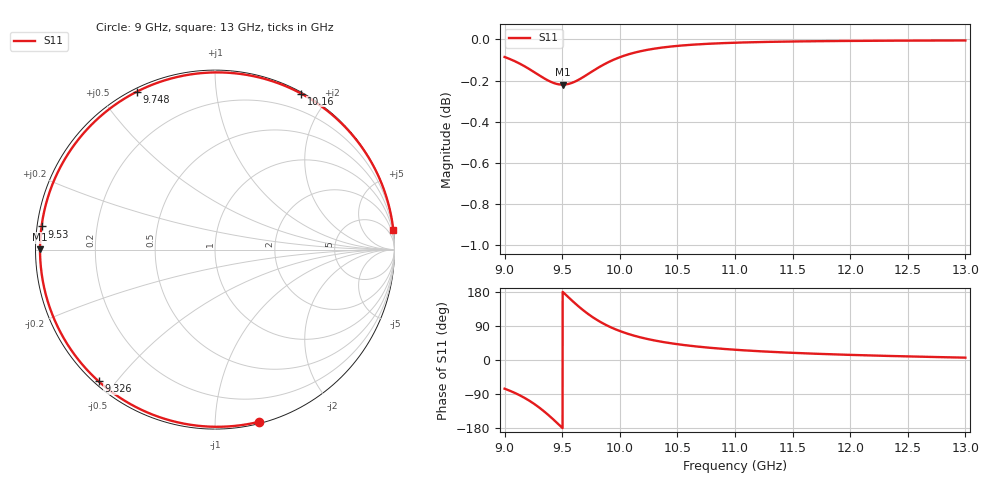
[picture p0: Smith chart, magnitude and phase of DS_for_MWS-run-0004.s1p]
! TOUCHSTONE file generated by CST DESIGN STUDIO
! Date and time: Tue Feb  4 15:47:15 2025
! Project name: C:\Work\MatlabApps\UnitCellOptimizationMatlab\CST\unitcell.cst
! Tree item: Tasks\Sweep1\SPara1\S-Parameters
! Header version: 2024
! Port assignment regex: !\s*Touchstone port\s*([0-9]+)\s*=\s*(CST MWS port|CST DES external port|CST DES block port)\s*(.+)\s* \(\"(.*)\"\)(\s*mode\s*([0-9]+))?.*
! Touchstone port assignment:
! Touchstone port 1 = CST DES external port 1 ("")
# GHz S MA R 50
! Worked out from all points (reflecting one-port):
!   4001 points, 9 GHz to 13 GHz, reference 50 ohm
!   lowest |S11| = -0.2 dB at 9.504 GHz (marker M1), VSWR 78.99, Z = 0.633 + j0.0313 ohm
!   phase of S11 starts at -76 deg and turns -278 deg over the sweep
!   S11 on the Smith chart (normalised r, x): 9 GHz: 0.01, -1.29; 9.326 GHz: 0.01, -0.45; 9.53 GHz: 0.01, +0.07; 9.748 GHz: 0.01, +0.62; 10.16 GHz: 0.01, +1.70; 13 GHz: 0, +18
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9  0.9902 -75.7
9.086  0.9879 -86.5
9.188  0.9845 -102.6
9.26  0.9817 -116.6
9.326  0.9791 -131.5
9.372  0.9774 -143.1
9.421  0.976 -156.3
9.461  0.9753 -167.7
9.5  0.975 -178.9
9.504  0.975 179.9
9.53  0.9751 172.4
9.584  0.976 157.0
9.644  0.9777 140.9
9.695  0.9796 128.3
9.748  0.9818 116.4
9.8  0.9838 106.1
9.857  0.9859 96.1
9.928  0.9882 85.5
10  0.9901 76.5
10.162  0.9932 61.1
10.316  0.995 50.7
10.5  0.9964 41.7
10.722  0.9974 34.0
11  0.9982 27.1
11.5  0.9988 18.9
12  0.9992 13.5
12.5  0.9993 9.5
13  0.9994 6.2
